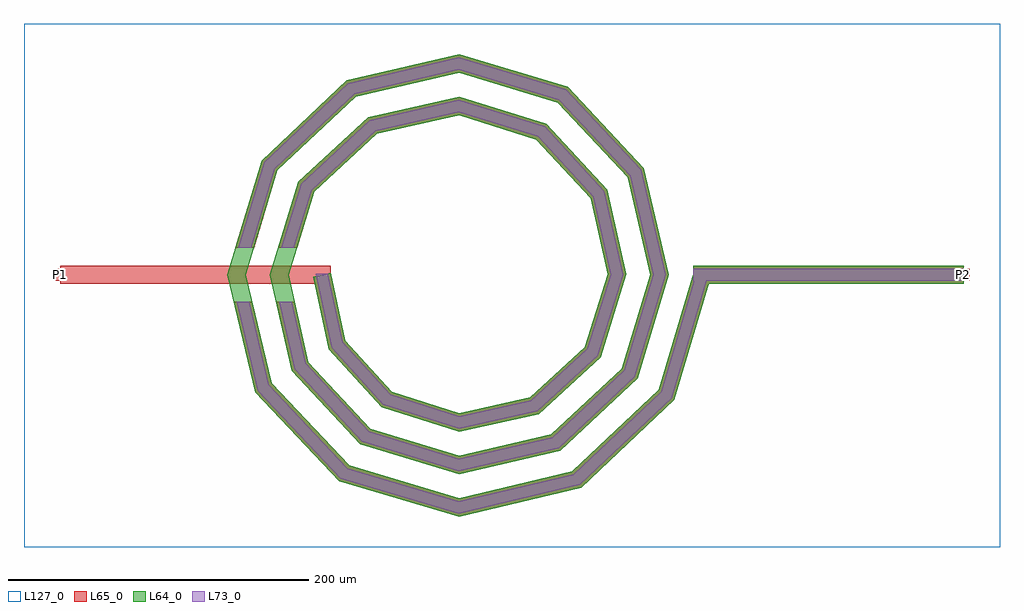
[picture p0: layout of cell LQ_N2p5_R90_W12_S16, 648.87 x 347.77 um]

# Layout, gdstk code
import gdstk
lib = gdstk.Library(unit=1e-6, precision=1e-09)
def R(c, l, rs):  # rectangles x0, y0, x1, y1
    for r in rs: c.add(gdstk.rectangle(r[:2], r[2:], *l))
def P(c, l, *ps):  # polygons
    for p in ps: c.add(gdstk.Polygon(p, *l))
L64_0 = (64, 0)
L65_0 = (65, 0)
L73_0 = (73, 0)
L127_0 = (127, 0)

lq_n2p5_r90_w12_s16 = lib.new_cell('LQ_N2p5_R90_W12_S16')
R(lq_n2p5_r90_w12_s16, L64_0, [(155.837,-6,335.837,6)])
P(lq_n2p5_r90_w12_s16, L64_0, [(-75.36,-43.847),(-44.526,-77.693),(0.279,-91.907),(47.369,-81.502),(83.814,-48.083),(98.987,0.26),(87.642,50.894),(51.638,89.937),(0.244,106.067),(-54.42,93.781),(-96.061,55.191),(-113.147,0.229),(-99.919,-57.948),(-58.742,-102.186),(0.216,-120.227),(61.477,-106.057),(108.311,-62.293),(127.307,0.205),(112.194,65.008),(65.842,114.437),(0.195,134.387),(-68.539,118.33),(-120.564,69.39),(-141.467,0.185),(-124.466,-72.071),(-72.938,-126.691),(0.177,-148.547),(75.604,-130.602),(132.819,-76.485),(156.086,1.711),(167.588,-1.711),(143.403,-82.992),(81.512,-141.532),(0.177,-160.966),(-79.458,-137.267),(-135.404,-77.965),(-153.885,0.185),(-131.131,75.926),(-74.417,129.276),(0.195,146.805),(72.394,124.994),(123.149,70.868),(139.724,0.205),(118.856,-68.862),(67.318,-117.023),(0.216,-132.643),(-65.332,-112.718),(-110.897,-63.767),(-125.563,0.229),(-106.58,61.804),(-60.215,104.772),(0.244,118.482),(58.276,100.44),(98.647,56.66),(111.401,0.26),(94.299,-54.751),(53.104,-92.524),(0.279,-104.32),(-51.227,-88.157),(-86.402,-49.546),(-96.896,-1.275),(-85.17,1.275)])
R(lq_n2p5_r90_w12_s16, L65_0, [(-265.033,-6,-85.033,6), (155.837,-6,335.837,6), (-269.033,-4,-261.033,4), (331.837,-4,339.837,4)])
P(lq_n2p5_r90_w12_s16, L65_0, [(-124.467,-72.071),(-72.938,-126.691),(0.177,-148.547),(75.604,-130.602),(132.819,-76.485),(156.086,1.711),(167.588,-1.711),(143.403,-82.992),(81.512,-141.532),(0.177,-160.966),(-79.458,-137.267),(-135.404,-77.965),(-149.585,-18),(-137.254,-18)],
  [(-99.919,-57.948),(-58.742,-102.186),(0.216,-120.227),(61.477,-106.057),(108.311,-62.293),(127.307,0.205),(112.194,65.008),(65.842,114.437),(0.195,134.387),(-68.539,118.33),(-120.564,69.39),(-136.003,18),(-148.533,18),(-131.131,75.926),(-74.417,129.276),(0.195,146.805),(72.394,124.994),(123.149,70.868),(139.724,0.205),(118.856,-68.863),(67.318,-117.023),(0.216,-132.643),(-65.332,-112.718),(-110.897,-63.767),(-121.385,-18),(-109.074,-18)],
  [(-44.526,-77.693),(0.279,-91.907),(47.369,-81.502),(83.814,-48.083),(98.987,0.26),(87.642,50.894),(51.638,89.937),(0.244,106.067),(-54.42,93.781),(-96.061,55.191),(-107.527,18),(-120.084,18),(-106.58,61.804),(-60.215,104.772),(0.244,118.482),(58.276,100.44),(98.647,56.661),(111.401,0.26),(94.299,-54.751),(53.105,-92.524),(0.279,-104.32),(-51.227,-88.157),(-86.402,-49.546),(-96.896,-1.275),(-85.17,1.275),(-75.36,-43.847)])
R(lq_n2p5_r90_w12_s16, L73_0, [(155.837,-4,335.837,4)])
P(lq_n2p5_r90_w12_s16, L73_0, [(-126.289,-73.054),(-74.025,-128.454),(0.118,-150.617),(76.589,-132.424),(134.583,-77.569),(158.003,1.141),(165.671,-1.141),(141.639,-81.907),(80.528,-139.71),(0.118,-158.896),(-78.372,-135.504),(-133.581,-76.983),(-147.53,-18),(-139.309,-18)],
  [(-101.749,-58.918),(-59.841,-103.941),(0.144,-122.296),(62.451,-107.885),(110.069,-63.388),(129.376,0.137),(114.02,65.984),(66.934,116.197),(0.13,136.456),(-69.519,120.155),(-122.325,70.48),(-138.092,18),(-146.445,18),(-129.369,74.836),(-73.437,127.452),(0.13,144.735),(71.302,123.234),(121.323,69.891),(137.655,0.137),(117.099,-67.768),(66.345,-115.195),(0.144,-130.574),(-64.234,-110.963),(-109.067,-62.797),(-119.333,-18),(-111.126,-18)],
  [(-45.643,-79.437),(0.186,-93.976),(48.325,-83.339),(85.562,-49.195),(101.056,0.173),(89.476,51.855),(52.744,91.688),(0.162,108.136),(-55.386,95.613),(-97.814,56.293),(-109.62,18),(-117.991,18),(-104.826,60.702),(-59.249,102.94),(0.162,116.413),(57.17,98.689),(96.813,55.699),(109.332,0.173),(92.552,-53.639),(52.149,-90.687),(0.186,-102.251),(-50.11,-86.413),(-84.561,-48.596),(-94.942,0.85),(-87.125,0.85),(-77.201,-44.797)])
R(lq_n2p5_r90_w12_s16, L127_0, [(-289.033,-180.966,359.837,166.805)])
lq_n2p5_r90_w12_s16.add(gdstk.Label('P2', (335.837,0), layer=65, texttype=0))
lq_n2p5_r90_w12_s16.add(gdstk.Label('P1', (-265.033,0), layer=65, texttype=0))
lq_n2p5_r90_w12_s16.add(gdstk.Label('P2', (339.837,0), layer=145, texttype=0))
lq_n2p5_r90_w12_s16.add(gdstk.Label('P1', (-269.033,0), layer=145, texttype=0))

lib.write_gds('LQ_N2p5_R90_W12_S16.gds')
